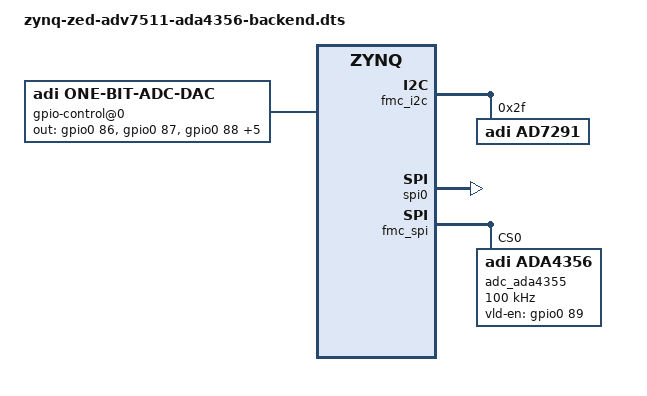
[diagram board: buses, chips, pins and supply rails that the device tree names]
// SPDX-License-Identifier: GPL-2.0
/*
 * Analog Devices ADA4356
 *
 * hdl_project: <ada4355_fmc/zed>
 * board_revision: <>
 *
 * Copyright (C) 2026 Analog Devices Inc.
 */
/dts-v1/;

#include <dt-bindings/gpio/gpio.h>

#include "zynq-zed.dtsi"
#include "zynq-zed-adv7511.dtsi"

/ {
	ada4355_fixed_clock: ada4355_fixed_clock{
		compatible = "fixed-clock";
		#clock-cells = <0>;
		clock-frequency = <125000000>;
	};

	gpio-control@0 {
		compatible = "adi,one-bit-adc-dac";
		#address-cells = <1>;
		#size-cells = <0>;
		out-gpios = <&gpio0 86 GPIO_ACTIVE_HIGH>,
			    <&gpio0 87 GPIO_ACTIVE_HIGH>,
			    <&gpio0 88 GPIO_ACTIVE_HIGH>,
			    <&gpio0 90 GPIO_ACTIVE_HIGH>,
			    <&gpio0 91 GPIO_ACTIVE_HIGH>,
			    <&gpio0 92 GPIO_ACTIVE_HIGH>,
			    <&gpio0 93 GPIO_ACTIVE_HIGH>,
			    <&gpio0 95 GPIO_ACTIVE_HIGH>;

		channel@0 {
			reg = <0>;
			label = "GSEL0";
		};
		channel@1 {
			reg = <1>;
			label = "GSEL1";
		};
		channel@2 {
			reg = <2>;
			label = "FSEL0";
		};
		channel@3 {
			reg = <3>;
			label = "GSEL2";
		};
		channel@4 {
			reg = <4>;
			label = "GPIO_TEST";
		};
		channel@5 {
			reg = <5>;
			label = "GSEL3";
		};
		channel@6 {
			reg = <6>;
			label = "FSEL1";
		};
		channel@7 {
			reg = <7>;
			label = "VLOGIC";
		};
	};
};

&fpga_axi {

	fmc_i2c: i2c@41620000 {
		compatible = "xlnx,axi-iic-1.01.b", "xlnx,xps-iic-2.00.a";
		interrupt-parent = <&intc>;
		interrupts = <0 55 IRQ_TYPE_LEVEL_HIGH>;
		reg = <0x41620000 0x10000>;

		#size-cells = <0>;
		#address-cells = <1>;

		ad7291@2f {
			compatible = "adi,ad7291";
			reg = <0x2f>;
		};
	};

	rx_dma: rx-dmac@44a30000 {
		compatible = "adi,axi-dmac-1.00.a";
		reg = <0x44A30000 0x10000>;
		#dma-cells = <1>;
		interrupts = <0 57 IRQ_TYPE_LEVEL_HIGH>;
		clocks = <&clkc 16>;

		adi,channels {
			#size-cells = <0>;
			#address-cells = <1>;

			dma-channel@0 {
				reg = <0>;
				adi,source-bus-width = <32>;
				adi,source-bus-type = <2>;
				adi,destination-bus-width = <64>;
				adi,destination-bus-type = <0>;
			};
		};
	};

	iio_backend: backend@44a00000{
		compatible = "adi,axi-ada435x";
		reg = <0x44a00000 0x10000>;
		dmas = <&rx_dma 0>;
		dma-names = "rx";
		clocks = <&ada4355_fixed_clock>;
	};


};

&spi0 {
	status = "okay";
};

#define fmc_spi spi0

&fmc_spi {

	adc_ada4355: adc_ada4356@0 {
		compatible = "adi,ada4356";
		reg = <0>;
		spi-max-frequency = <100000>;
		spi-cpol;
		spi-cpha;
		clocks = <&ada4355_fixed_clock>;
		clock-names = "adc_clk";
		adi,vld-en-gpios = <&gpio0 89 GPIO_ACTIVE_HIGH>;
		io-backends = <&iio_backend>;
		num_lanes = <2>;
	};
};
